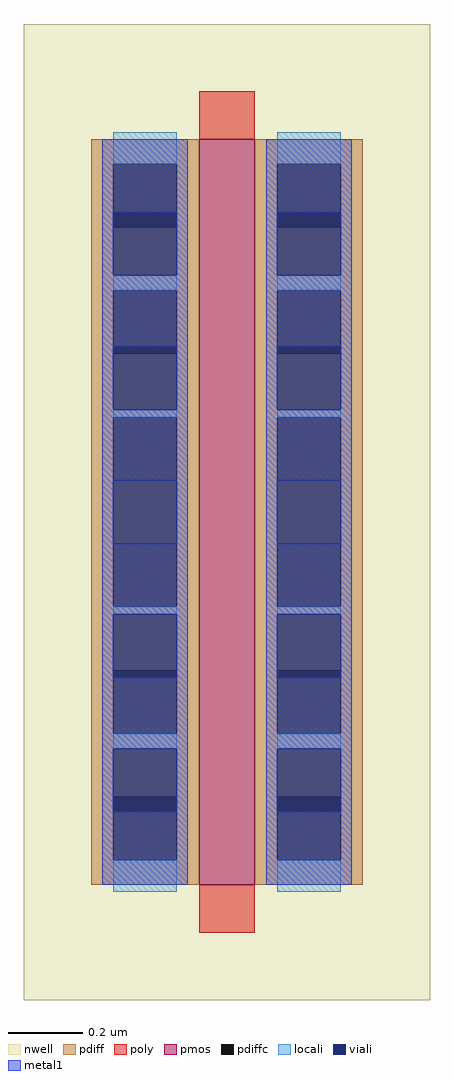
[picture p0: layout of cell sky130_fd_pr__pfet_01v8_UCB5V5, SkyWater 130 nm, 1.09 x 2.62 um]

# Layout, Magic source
magic
tech sky130A
magscale 1 2
<< nwell >>
rect -109 -262 109 262
<< pmos >>
rect -15 -200 15 200
<< pdiff >>
rect -73 187 -15 200
rect -73 153 -61 187
rect -27 153 -15 187
rect -73 119 -15 153
rect -73 85 -61 119
rect -27 85 -15 119
rect -73 51 -15 85
rect -73 17 -61 51
rect -27 17 -15 51
rect -73 -17 -15 17
rect -73 -51 -61 -17
rect -27 -51 -15 -17
rect -73 -85 -15 -51
rect -73 -119 -61 -85
rect -27 -119 -15 -85
rect -73 -153 -15 -119
rect -73 -187 -61 -153
rect -27 -187 -15 -153
rect -73 -200 -15 -187
rect 15 187 73 200
rect 15 153 27 187
rect 61 153 73 187
rect 15 119 73 153
rect 15 85 27 119
rect 61 85 73 119
rect 15 51 73 85
rect 15 17 27 51
rect 61 17 73 51
rect 15 -17 73 17
rect 15 -51 27 -17
rect 61 -51 73 -17
rect 15 -85 73 -51
rect 15 -119 27 -85
rect 61 -119 73 -85
rect 15 -153 73 -119
rect 15 -187 27 -153
rect 61 -187 73 -153
rect 15 -200 73 -187
<< pdiffc >>
rect -61 153 -27 187
rect -61 85 -27 119
rect -61 17 -27 51
rect -61 -51 -27 -17
rect -61 -119 -27 -85
rect -61 -187 -27 -153
rect 27 153 61 187
rect 27 85 61 119
rect 27 17 61 51
rect 27 -51 61 -17
rect 27 -119 61 -85
rect 27 -187 61 -153
<< poly >>
rect -15 200 15 226
rect -15 -226 15 -200
<< locali >>
rect -61 187 -27 204
rect -61 119 -27 127
rect -61 51 -27 55
rect -61 -55 -27 -51
rect -61 -127 -27 -119
rect -61 -204 -27 -187
rect 27 187 61 204
rect 27 119 61 127
rect 27 51 61 55
rect 27 -55 61 -51
rect 27 -127 61 -119
rect 27 -204 61 -187
<< viali >>
rect -61 153 -27 161
rect -61 127 -27 153
rect -61 85 -27 89
rect -61 55 -27 85
rect -61 -17 -27 17
rect -61 -85 -27 -55
rect -61 -89 -27 -85
rect -61 -153 -27 -127
rect -61 -161 -27 -153
rect 27 153 61 161
rect 27 127 61 153
rect 27 85 61 89
rect 27 55 61 85
rect 27 -17 61 17
rect 27 -85 61 -55
rect 27 -89 61 -85
rect 27 -153 61 -127
rect 27 -161 61 -153
<< metal1 >>
rect -67 161 -21 200
rect -67 127 -61 161
rect -27 127 -21 161
rect -67 89 -21 127
rect -67 55 -61 89
rect -27 55 -21 89
rect -67 17 -21 55
rect -67 -17 -61 17
rect -27 -17 -21 17
rect -67 -55 -21 -17
rect -67 -89 -61 -55
rect -27 -89 -21 -55
rect -67 -127 -21 -89
rect -67 -161 -61 -127
rect -27 -161 -21 -127
rect -67 -200 -21 -161
rect 21 161 67 200
rect 21 127 27 161
rect 61 127 67 161
rect 21 89 67 127
rect 21 55 27 89
rect 61 55 67 89
rect 21 17 67 55
rect 21 -17 27 17
rect 61 -17 67 17
rect 21 -55 67 -17
rect 21 -89 27 -55
rect 61 -89 67 -55
rect 21 -127 67 -89
rect 21 -161 27 -127
rect 61 -161 67 -127
rect 21 -200 67 -161
<< end >>
